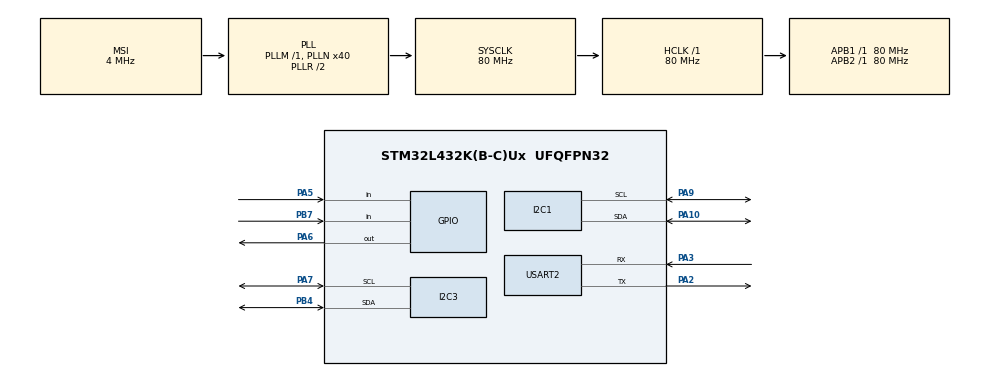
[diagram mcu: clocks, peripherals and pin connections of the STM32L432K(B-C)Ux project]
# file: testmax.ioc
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FREERTOS.BinarySemaphores01=sem1,Dynamic,NULL;sem2,Dynamic,NULL
FREERTOS.Queues01=myUartQueue,16,uint16_t,0,Dynamic,NULL,NULL
FREERTOS.Tasks01=defaultTask,24,128,StartDefaultTask,Default,NULL,Dynamic,NULL,NULL;SOS,8,128,startSOS,Default,NULL,Dynamic,NULL,NULL;HR,8,128,getHR,Default,NULL,Dynamic,NULL,NULL;RTC,8,128,clkcount,Default,NULL,Dynamic,NULL,NULL
I2C1.Timing=0x10909CEC
I2C3.Timing=0x10909CEC
Mcu.Family=STM32L4
Mcu.Name=STM32L432K(B-C)Ux
Mcu.Package=UFQFPN32
NVIC.PriorityGroup=NVIC_PRIORITYGROUP_4
NVIC.USART2_IRQn=true\:5\:0\:false\:false\:true\:true\:true\:true
PA10.Mode=I2C
PA10.Signal=I2C1_SDA
PA13\ (JTMS-SWDIO).Mode=Serial_Wire
PA13\ (JTMS-SWDIO).Signal=SYS_JTMS-SWDIO
PA14\ (JTCK-SWCLK).Mode=Serial_Wire
PA14\ (JTCK-SWCLK).Signal=SYS_JTCK-SWCLK
PA2.Mode=Asynchronous
PA2.Signal=USART2_TX
PA3.Mode=Asynchronous
PA3.Signal=USART2_RX
PA5.GPIO_PuPd=GPIO_PULLUP
PA5.Signal=GPIO_Input
PA6.GPIO_PuPd=GPIO_PULLDOWN
PA6.Signal=GPIO_Output
PA7.Mode=I2C
PA7.Signal=I2C3_SCL
PA9.Mode=I2C
PA9.Signal=I2C1_SCL
PB4\ (NJTRST).Mode=I2C
PB4\ (NJTRST).Signal=I2C3_SDA
PB7.GPIO_PuPd=GPIO_PULLDOWN
PB7.Signal=GPIO_Input
PC14-OSC32_IN\ (PC14).Mode=LSE-External-Oscillator
PC14-OSC32_IN\ (PC14).Signal=RCC_OSC32_IN
PC15-OSC32_OUT\ (PC15).Mode=LSE-External-Oscillator
PC15-OSC32_OUT\ (PC15).Signal=RCC_OSC32_OUT
ProjectManager.HeapSize=0x200
ProjectManager.StackSize=0x400
ProjectManager.TargetToolchain=MDK-ARM V5
RCC.AHBFreq_Value=80000000
RCC.APB1Freq_Value=80000000
RCC.APB1TimFreq_Value=80000000
RCC.APB2Freq_Value=80000000
RCC.APB2TimFreq_Value=80000000
RCC.CortexFreq_Value=80000000
RCC.HCLKFreq_Value=80000000
RCC.HSE_VALUE=8000000
RCC.HSI48_VALUE=48000000
RCC.HSI_VALUE=16000000
RCC.MSI_VALUE=4000000
RCC.PLLN=40
RCC.SYSCLKFreq_VALUE=80000000
RCC.SYSCLKSource=RCC_SYSCLKSOURCE_PLLCLK
RCC.VCOOutputFreq_Value=160000000
USART2.VirtualMode-Asynchronous=VM_ASYNC
VP_FREERTOS_VS_CMSIS_V2.Mode=CMSIS_V2
board=custom

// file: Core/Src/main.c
/* USER CODE BEGIN Header */
/**
  ******************************************************************************
  * @file           : main.c
  * @brief          : Main program body
  ******************************************************************************
  * @attention
  *
  * <h2><center>&copy; Copyright (c) 2021 STMicroelectronics.
  * All rights reserved.</center></h2>
  *
  * This software component is licensed by ST under BSD 3-Clause license,
  * the "License"; You may not use this file except in compliance with the
  * License. You may obtain a copy of the License at:
  *                        opensource.org/licenses/BSD-3-Clause
  *
  ******************************************************************************
  */
/* USER CODE END Header */
#include "main.h"
#include "cmsis_os.h"

/* USER CODE BEGIN Includes */
#include <stdlib.h>
#include <string.h>
#include <stdio.h>
#include "math.h"
#include "semphr.h"
#include "task.h"
#include "max30102.h"

/* USER CODE END Includes */

I2C_HandleTypeDef hi2c1;
I2C_HandleTypeDef hi2c3;

UART_HandleTypeDef huart2;

/* Definitions for defaultTask */
osThreadId_t defaultTaskHandle;
const osThreadAttr_t defaultTask_attributes = {
  .name = "defaultTask",
  .stack_size = 128 * 4,
  .priority = (osPriority_t) osPriorityNormal,
};
/* Definitions for SOS */
osThreadId_t SOSHandle;
const osThreadAttr_t SOS_attributes = {
  .name = "SOS",
  .stack_size = 128 * 4,
  .priority = (osPriority_t) osPriorityLow,
};
/* Definitions for HR */
osThreadId_t HRHandle;
const osThreadAttr_t HR_attributes = {
  .name = "HR",
  .stack_size = 128 * 4,
  .priority = (osPriority_t) osPriorityLow,
};
/* Definitions for RTC */
osThreadId_t RTCHandle;
const osThreadAttr_t RTC_attributes = {
  .name = "RTC",
  .stack_size = 128 * 4,
  .priority = (osPriority_t) osPriorityLow,
};
/* Definitions for myUartQueue */
osMessageQueueId_t myUartQueueHandle;
const osMessageQueueAttr_t myUartQueue_attributes = {
  .name = "myUartQueue"
};
/* Definitions for sem1 */
osSemaphoreId_t sem1Handle;
const osSemaphoreAttr_t sem1_attributes = {
  .name = "sem1"
};
/* Definitions for sem2 */
osSemaphoreId_t sem2Handle;
const osSemaphoreAttr_t sem2_attributes = {
  .name = "sem2"
};
/* USER CODE BEGIN PV */
	uint8_t secbuffer[2], minbuffer[2], hourbuffer[2], daybuffer[2], datebuffer[2];
  uint8_t h1,h2,m1,m2,s1,s2;
	uint8_t alarm_minbuffer[2], alarm_hourbuffer[2], alarm_daybuffer[2], alarm_datebuffer[2];
	int count = 1;
	uint8_t a2f;
	uint8_t sos[] = {'S', 'O', 'S', '\n', '\r'};
	uint8_t fff[] = {'0','0','0'};
	int xyz =0;
	int secs = 30;
	uint8_t nl[] = {'\n'};
	char hrt[12];
	uint8_t status_reg[2], ctrl_reg[2];
	int first_time=1;

/* USER CODE END PV */

void SystemClock_Config(void);
static void MX_GPIO_Init(void);
static void MX_I2C1_Init(void);
static void MX_USART2_UART_Init(void);
static void MX_I2C3_Init(void);
void StartDefaultTask(void *argument);
void startSOS(void *argument);
void getHR(void *argument);
void clkcount(void *argument);

int main(void)
{

  /* MCU Configuration--------------------------------------------------------*/

  /* Reset of all peripherals, Initializes the Flash interface and the Systick. */
  HAL_Init();

  /* Configure the system clock */
  SystemClock_Config();

  /* Initialize all configured peripherals */
  MX_GPIO_Init();
  MX_I2C1_Init();
  MX_USART2_UART_Init();
  MX_I2C3_Init();
  /* USER CODE BEGIN 2 */
	HAL_GPIO_WritePin(GPIOA, GPIO_PIN_6, GPIO_PIN_RESET);
  initialize();

  /* USER CODE END 2 */

  /* Init scheduler */
  osKernelInitialize();

  /* Create the semaphores(s) */
  /* creation of sem1 */
  sem1Handle = osSemaphoreNew(1, 1, &sem1_attributes);

  /* creation of sem2 */
  sem2Handle = osSemaphoreNew(1, 1, &sem2_attributes);

  /* Create the queue(s) */
  /* creation of myUartQueue */
  myUartQueueHandle = osMessageQueueNew (16, sizeof(uint16_t), &myUartQueue_attributes);

  /* Create the thread(s) */
  /* creation of defaultTask */
  defaultTaskHandle = osThreadNew(StartDefaultTask, NULL, &defaultTask_attributes);

  /* creation of SOS */
  SOSHandle = osThreadNew(startSOS, NULL, &SOS_attributes);

  /* creation of HR */
  HRHandle = osThreadNew(getHR, NULL, &HR_attributes);

  /* creation of RTC */
  RTCHandle = osThreadNew(clkcount, NULL, &RTC_attributes);

  /* Start scheduler */
  osKernelStart();

  /* We should never get here as control is now taken by the scheduler */
  /* Infinite loop */
  while (1)
  {

	 }
}

void SystemClock_Config(void)
{
  RCC_OscInitTypeDef RCC_OscInitStruct = {0};
  RCC_ClkInitTypeDef RCC_ClkInitStruct = {0};

  /** Configure the main internal regulator output voltage
  */
  if (HAL_PWREx_ControlVoltageScaling(PWR_REGULATOR_VOLTAGE_SCALE1) != HAL_OK)
  {
    Error_Handler();
  }
  /** Configure LSE Drive Capability
  */
  HAL_PWR_EnableBkUpAccess();
  __HAL_RCC_LSEDRIVE_CONFIG(RCC_LSEDRIVE_LOW);
  /** Initializes the RCC Oscillators according to the specified parameters
  * in the RCC_OscInitTypeDef structure.
  */
  RCC_OscInitStruct.OscillatorType = RCC_OSCILLATORTYPE_LSE|RCC_OSCILLATORTYPE_MSI;
  RCC_OscInitStruct.LSEState = RCC_LSE_ON;
  RCC_OscInitStruct.MSIState = RCC_MSI_ON;
  RCC_OscInitStruct.MSICalibrationValue = 0;
  RCC_OscInitStruct.MSIClockRange = RCC_MSIRANGE_6;
  RCC_OscInitStruct.PLL.PLLState = RCC_PLL_ON;
  RCC_OscInitStruct.PLL.PLLSource = RCC_PLLSOURCE_MSI;
  RCC_OscInitStruct.PLL.PLLM = 1;
  RCC_OscInitStruct.PLL.PLLN = 40;
  RCC_OscInitStruct.PLL.PLLP = RCC_PLLP_DIV7;
  RCC_OscInitStruct.PLL.PLLQ = RCC_PLLQ_DIV2;
  RCC_OscInitStruct.PLL.PLLR = RCC_PLLR_DIV2;
  if (HAL_RCC_OscConfig(&RCC_OscInitStruct) != HAL_OK)
  {
    Error_Handler();
  }
  /** Initializes the CPU, AHB and APB buses clocks
  */
  RCC_ClkInitStruct.ClockType = RCC_CLOCKTYPE_HCLK|RCC_CLOCKTYPE_SYSCLK
                              |RCC_CLOCKTYPE_PCLK1|RCC_CLOCKTYPE_PCLK2;
  RCC_ClkInitStruct.SYSCLKSource = RCC_SYSCLKSOURCE_PLLCLK;
  RCC_ClkInitStruct.AHBCLKDivider = RCC_SYSCLK_DIV1;
  RCC_ClkInitStruct.APB1CLKDivider = RCC_HCLK_DIV1;
  RCC_ClkInitStruct.APB2CLKDivider = RCC_HCLK_DIV1;

  if (HAL_RCC_ClockConfig(&RCC_ClkInitStruct, FLASH_LATENCY_4) != HAL_OK)
  {
    Error_Handler();
  }
  /** Enable MSI Auto calibration
  */
  HAL_RCCEx_EnableMSIPLLMode();
}

static void MX_I2C1_Init(void)
{

  hi2c1.Instance = I2C1;
  hi2c1.Init.Timing = 0x10909CEC;
  hi2c1.Init.OwnAddress1 = 0;
  hi2c1.Init.AddressingMode = I2C_ADDRESSINGMODE_7BIT;
  hi2c1.Init.DualAddressMode = I2C_DUALADDRESS_DISABLE;
  hi2c1.Init.OwnAddress2 = 0;
  hi2c1.Init.OwnAddress2Masks = I2C_OA2_NOMASK;
  hi2c1.Init.GeneralCallMode = I2C_GENERALCALL_DISABLE;
  hi2c1.Init.NoStretchMode = I2C_NOSTRETCH_DISABLE;
  if (HAL_I2C_Init(&hi2c1) != HAL_OK)
  {
    Error_Handler();
  }
  /** Configure Analogue filter
  */
  if (HAL_I2CEx_ConfigAnalogFilter(&hi2c1, I2C_ANALOGFILTER_ENABLE) != HAL_OK)
  {
    Error_Handler();
  }
  /** Configure Digital filter
  */
  if (HAL_I2CEx_ConfigDigitalFilter(&hi2c1, 0) != HAL_OK)
  {
    Error_Handler();
  }

}

static void MX_I2C3_Init(void)
{

  hi2c3.Instance = I2C3;
  hi2c3.Init.Timing = 0x10909CEC;
  hi2c3.Init.OwnAddress1 = 0;
  hi2c3.Init.AddressingMode = I2C_ADDRESSINGMODE_7BIT;
  hi2c3.Init.DualAddressMode = I2C_DUALADDRESS_DISABLE;
  hi2c3.Init.OwnAddress2 = 0;
  hi2c3.Init.OwnAddress2Masks = I2C_OA2_NOMASK;
  hi2c3.Init.GeneralCallMode = I2C_GENERALCALL_DISABLE;
  hi2c3.Init.NoStretchMode = I2C_NOSTRETCH_DISABLE;
  if (HAL_I2C_Init(&hi2c3) != HAL_OK)
  {
    Error_Handler();
  }
  /** Configure Analogue filter
  */
  if (HAL_I2CEx_ConfigAnalogFilter(&hi2c3, I2C_ANALOGFILTER_ENABLE) != HAL_OK)
  {
    Error_Handler();
  }
  /** Configure Digital filter
  */
  if (HAL_I2CEx_ConfigDigitalFilter(&hi2c3, 0) != HAL_OK)
  {
    Error_Handler();
  }

}

static void MX_USART2_UART_Init(void)
{

  huart2.Instance = USART2;
  huart2.Init.BaudRate = 115200;
  huart2.Init.WordLength = UART_WORDLENGTH_8B;
  huart2.Init.StopBits = UART_STOPBITS_1;
  huart2.Init.Parity = UART_PARITY_NONE;
  huart2.Init.Mode = UART_MODE_TX_RX;
  huart2.Init.HwFlowCtl = UART_HWCONTROL_NONE;
  huart2.Init.OverSampling = UART_OVERSAMPLING_16;
  huart2.Init.OneBitSampling = UART_ONE_BIT_SAMPLE_DISABLE;
  huart2.AdvancedInit.AdvFeatureInit = UART_ADVFEATURE_NO_INIT;
  if (HAL_UART_Init(&huart2) != HAL_OK)
  {
    Error_Handler();
  }

}

static void MX_GPIO_Init(void)
{
  GPIO_InitTypeDef GPIO_InitStruct = {0};

  /* GPIO Ports Clock Enable */
  __HAL_RCC_GPIOC_CLK_ENABLE();
  __HAL_RCC_GPIOA_CLK_ENABLE();
  __HAL_RCC_GPIOB_CLK_ENABLE();

  /*Configure GPIO pin Output Level */
  HAL_GPIO_WritePin(GPIOA, GPIO_PIN_6, GPIO_PIN_RESET);

  /*Configure GPIO pin : PA5 */
  GPIO_InitStruct.Pin = GPIO_PIN_5;
  GPIO_InitStruct.Mode = GPIO_MODE_INPUT;
  GPIO_InitStruct.Pull = GPIO_PULLUP;
  HAL_GPIO_Init(GPIOA, &GPIO_InitStruct);

  /*Configure GPIO pin : PA6 */
  GPIO_InitStruct.Pin = GPIO_PIN_6;
  GPIO_InitStruct.Mode = GPIO_MODE_OUTPUT_PP;
  GPIO_InitStruct.Pull = GPIO_PULLDOWN;
  GPIO_InitStruct.Speed = GPIO_SPEED_FREQ_LOW;
  HAL_GPIO_Init(GPIOA, &GPIO_InitStruct);

  /*Configure GPIO pin : PB7 */
  GPIO_InitStruct.Pin = GPIO_PIN_7;
  GPIO_InitStruct.Mode = GPIO_MODE_INPUT;
  GPIO_InitStruct.Pull = GPIO_PULLDOWN;
  HAL_GPIO_Init(GPIOB, &GPIO_InitStruct);

}

void StartDefaultTask(void *argument)
{
  for(;;)
  {
    osDelay(1);
  }
}

void startSOS(void *argument)
{
  /* USER CODE BEGIN startSOS */
  /* Infinite loop */
  for(;;)
	{
		if ((HAL_GPIO_ReadPin(GPIOB, GPIO_PIN_7) == 0) )
			{
				HAL_GPIO_WritePin(GPIOA, GPIO_PIN_6, GPIO_PIN_SET);
			}
		else
			{
				HAL_GPIO_WritePin(GPIOA, GPIO_PIN_6, GPIO_PIN_RESET);
				if (xSemaphoreTakeFromISR(sem1Handle, NULL))
				{
					taskENTER_CRITICAL();
					HAL_UART_Transmit(&huart2, sos, 4, 100);
					taskENTER_CRITICAL();
					xSemaphoreGive(sem1Handle);
				}
			}
  /* USER CODE END startSOS */
	}
}

void getHR(void *argument)
{
  /* USER CODE BEGIN getHR */
  /* Infinite loop */

  for(;;)
  {
		if (secs == 0)
		{
			xyz= read_sequential();
			fff[0] = xyz<100?0:xyz / 100 + 48;
			fff[1] = xyz<10?0:(xyz / 10) % 10 + 48;
			fff[2] = xyz % 10 + 48;
			sprintf(hrt, "Heart rate: ");
			if (xSemaphoreTake(sem1Handle, 10) == pdTRUE)
			{
				taskENTER_CRITICAL();
				HAL_UART_Transmit(&huart2, (uint8_t *)hrt, 12, 1000);
				HAL_UART_Transmit(&huart2, fff, sizeof(fff), 1000);
				HAL_UART_Transmit(&huart2, nl, 1, 1000);
				taskEXIT_CRITICAL();
				xSemaphoreGive(sem1Handle);
			}
			secs = 30;
		}
		else secs --;
		HAL_Delay(1000);
		osDelay(1);
		}

  }

  /* USER CODE END getHR */

void clkcount(void *argument)
{
  /* USER CODE BEGIN clkcount */
	if (first_time)
	{
		secbuffer[0] = 0x00; //register address
		secbuffer[1] = 0x00; //data to put in register
		HAL_I2C_Master_Transmit(&hi2c3, 0xD0, secbuffer, 2, 10);
		// minutes
		minbuffer[0] = 0x01; //register address
		minbuffer[1] = 0x40; //data to put in register
		HAL_I2C_Master_Transmit(&hi2c3, 0xD0, minbuffer, 2, 10);

		// hours
		hourbuffer[0] = 0x02; //register address
		hourbuffer[1] = 0x11; //data to put in register
		HAL_I2C_Master_Transmit(&hi2c3, 0xD0, hourbuffer, 2, 10);

		daybuffer[0] = 0x03;
		daybuffer[0] = 0x00;
		HAL_I2C_Master_Transmit(&hi2c3, 0xD0, daybuffer, 2, 10);

		datebuffer[0] = 0x04;
		datebuffer[0] = 0x00;
		HAL_I2C_Master_Transmit(&hi2c3, 0xD0, datebuffer, 2, 10);

		status_reg[0] = 0x0F;
		status_reg[1] = 0x88;
		HAL_I2C_Master_Transmit(&hi2c3, 0xD0, status_reg, 2, 10);
	// control register
		ctrl_reg[0] = 0x0E;
		ctrl_reg[1] = 0x1E;
		HAL_I2C_Master_Transmit(&hi2c3, 0xD0, ctrl_reg, 2, 10);
	// minutes
		alarm_minbuffer[0] = 0x0B;
		alarm_minbuffer[1] = 0x41;
		//alarm_minbuffer[1] += count;
		HAL_I2C_Master_Transmit(&hi2c3, 0xD0, alarm_minbuffer, 2, 10);
	// hours
		alarm_hourbuffer[0] = 0x0C;
		alarm_hourbuffer[1] = 0x11;
		HAL_I2C_Master_Transmit(&hi2c3, 0xD0, alarm_hourbuffer, 2, 10);

		alarm_daybuffer[0] = 0x0D;
		alarm_daybuffer[1] = 0xC0;
		HAL_I2C_Master_Transmit(&hi2c3, 0xD0, alarm_daybuffer, 2, 10);

		alarm_datebuffer[0] = 0x0D;
		alarm_datebuffer[1] = 0x80;
		HAL_I2C_Master_Transmit(&hi2c3, 0xD0, alarm_datebuffer, 2, 10);

		first_time = 0;
}
  /* Infinite loop */
  for(;;)
  {
		HAL_I2C_Master_Transmit(&hi2c3, 0xD0, &status_reg[0], 1, 10);
		HAL_I2C_Master_Receive(&hi2c3, 0xD1, &a2f, 1, 10);

		if (a2f & 0x02)
		{
			alarm_minbuffer[1] += count;
			HAL_I2C_Master_Transmit(&hi2c3, 0xD0, alarm_minbuffer, 2, 10);
			HAL_I2C_Master_Transmit(&hi2c3, 0xD0, status_reg, 2, 10);
		}
    osDelay(1);
  }
  /* USER CODE END clkcount */
}

void Error_Handler(void)
{
  __disable_irq();
  while (1)
  {
  }
}

/************************ (C) COPYRIGHT STMicroelectronics *****END OF FILE****/
